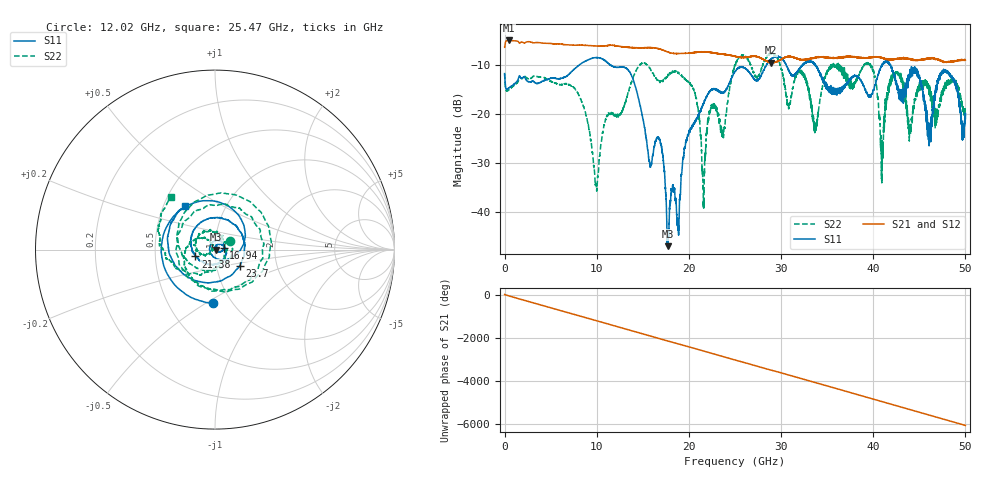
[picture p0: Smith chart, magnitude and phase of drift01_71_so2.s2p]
!Created with skrf (http://scikit-rf.org).
# Hz S RI R 50.0
!freq ReS11 ImS11 ReS21 ImS21 ReS12 ImS12 ReS22 ImS22
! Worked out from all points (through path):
!   10001 points, 300 kHz to 50 GHz, reference 50 ohm
!   highest |S21| = -5.05 dB at 480.3 MHz (marker M1); lowest = -9.6 dB at 28.9 GHz (marker M2)
!   group delay of S21, straight-line fit = 336 ps
!   lowest |S11| = -47.0 dB at 17.69 GHz (marker M3), VSWR 1.01, Z = 50.4 - j0.0605 ohm
!   |S11| at or under -10 dB: start of sweep to 8.152 GHz; 11.43 GHz to 28.42 GHz (16.99 GHz wide, 85.3 % of centre); 41.86 GHz to end of sweep (the widest 3 of 18)
!   |S22| runs from -39.3 to -7.6 dB; largest |S21 - S12| = 0.015
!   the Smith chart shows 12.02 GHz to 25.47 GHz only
!   S11 on the Smith chart (normalised r, x): 12.02 GHz: 0.82, -0.54; 16.94 GHz: 1.10, +0.02; 21.38 GHz: 0.80, -0.06; 23.7 GHz: 1.29, -0.25; 25.47 GHz: 0.64, +0.35
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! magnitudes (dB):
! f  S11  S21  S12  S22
! 300 kHz  -11.8  -6.4  -6.5  -11.8
! 480.3 MHz  -14.7  -5.1  -5.1  -15.1
! 8.335 GHz  -9.7  -6.0  -6.0  -17.5
! 9.955 GHz  -8.6  -6.2  -6.2  -34.8
! 12.02 GHz  -10.5  -6.1  -6.1  -20.5
! 16.67 GHz  -24.7  -6.7  -6.7  -13.3
! 16.94 GHz  -26.1  -6.8  -6.9  -13.3
! 17.69 GHz  -47.0  -7.4  -7.4  -12.3
! 20.45 GHz  -22.5  -7.5  -7.6  -14.8
! 21.38 GHz  -18.8  -7.4  -7.4  -27.8
! 22.51 GHz  -15.0  -7.5  -7.6  -18.5
! 23.7 GHz  -15.6  -7.9  -7.9  -23.8
! 25 GHz  -11.4  -8.3  -8.3  -10.2
! 25.47 GHz  -10.6  -8.5  -8.5  -8.4
! 28.9 GHz  -9.0  -9.6  -9.6  -7.8
! 33.34 GHz  -9.4  -8.7  -8.7  -19.4
! 39.48 GHz  -16.3  -8.6  -8.5  -9.9
! 40.97 GHz  -10.1  -8.6  -8.6  -27.7
! 41.67 GHz  -9.5  -8.8  -8.9  -14.4
! 46.11 GHz  -23.4  -8.7  -8.7  -15.4
! 48.04 GHz  -11.7  -9.4  -9.3  -13.8
! 50 GHz  -20.9  -9.1  -9.1  -20.3
